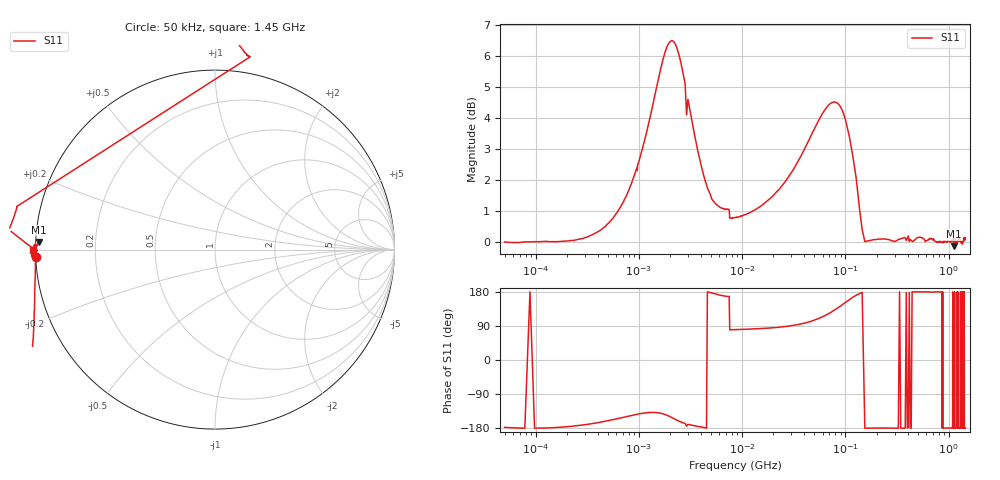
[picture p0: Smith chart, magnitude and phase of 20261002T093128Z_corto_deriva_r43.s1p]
! piloto_deriva / corto_deriva / r43
# HZ S RI R 50
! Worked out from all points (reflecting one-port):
!   501 points, 50 kHz to 1.45 GHz, reference 50 ohm
!   lowest |S11| = -0.1 dB at 1.126 GHz (marker M1), VSWR 120.34, Z = 0.416 + j1.08 ohm
!   phase of S11 starts at -178 deg and turns -2 deg over the sweep
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50000  -0.998 -0.039
183000  -1 -0.0521
363500  -1.004 -0.2242
658000  -1.015 -0.5103
1180000  -1.135 -0.976
1630000  -1.475 -1.211
1990000  -1.806 -1.08
2440000  -1.9 -0.6424
2710000  -1.797 -0.4356
3070000  -1.632 -0.2679
4600000  -1.223 0.00355
7300000  -1.102 0.2413
7750000  0.194 1.075
8560000  0.1874 1.078
1.99e7  0.1015 1.182
3.16e7  -0.0356 1.312
4.69e7  -0.3245 1.453
6.76e7  -0.8593 1.418
7.93e7  -1.139 1.236
9.46e7  -1.362 0.8758
9.82e7  -1.384 0.7833
1e8  -1.39 0.7386
1.18e8  -1.331 0.3379
1.36e8  -1.135 0.1007
1.63e8  -1.003 -0.00315
4.06e8  -1.021 -0.0374
1.126e9  -0.9826 0.0423
1.45e9  -1.012 -0.00472
